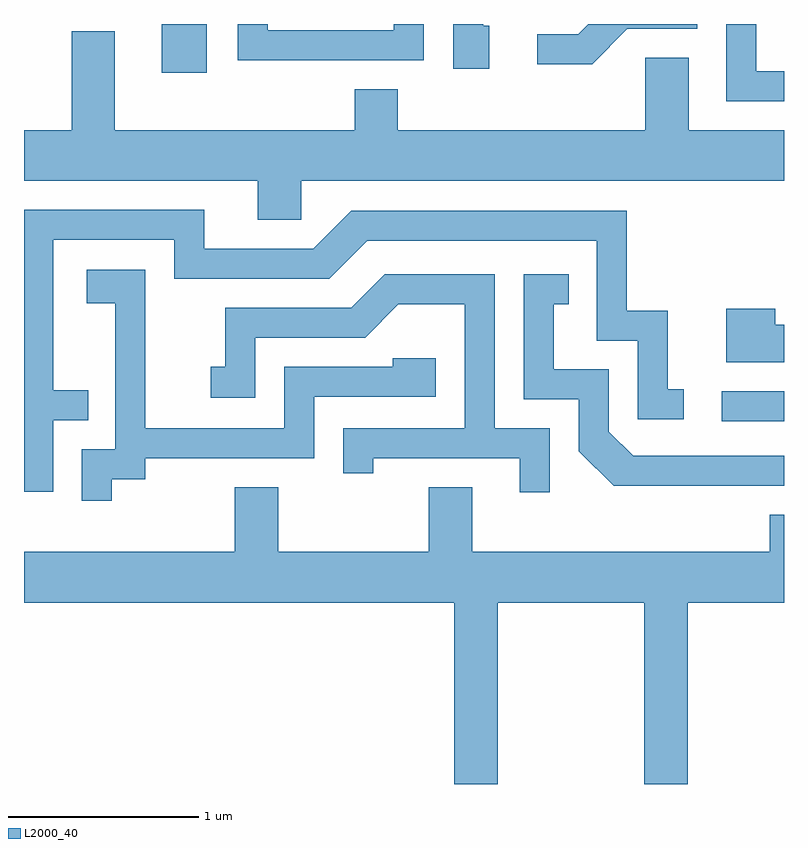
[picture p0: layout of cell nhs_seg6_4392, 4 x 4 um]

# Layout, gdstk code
import gdstk
lib = gdstk.Library(unit=1e-6, precision=1e-09)
def R(c, l, rs):  # rectangles x0, y0, x1, y1
    for r in rs: c.add(gdstk.rectangle(r[:2], r[2:], *l))
def P(c, l, *ps):  # polygons
    for p in ps: c.add(gdstk.Polygon(p, *l))
L2000_40 = (2000, 40)

nhs_seg6_4392 = lib.new_cell('nhs_seg6_4392')
R(nhs_seg6_4392, L2000_40, [(323.283,1582.071,323.611,1582.229), (320.336,1583.906,320.574,1584.162)])
P(nhs_seg6_4392, L2000_40, [(323.611,1583.914),(323.464,1583.914),(323.464,1584.162),(323.306,1584.162),(323.306,1583.756),(323.611,1583.756)],
  [(322.059,1584.154),(322.029,1584.154),(322.029,1584.162),(321.871,1584.162),(321.871,1583.926),(322.059,1583.926)],
  [(322.787,1584.136),(323.154,1584.136),(323.154,1584.162),(322.582,1584.162),(322.529,1584.109),(322.313,1584.109),(322.313,1583.951),(322.602,1583.951)],
  [(321.714,1584.162),(321.556,1584.162),(321.556,1584.129),(320.894,1584.129),(320.894,1584.162),(320.736,1584.162),(320.736,1583.971),(321.714,1583.971)],
  [(320.089,1584.124),(319.861,1584.124),(319.861,1583.604),(319.611,1583.604),(319.611,1583.336),(320.841,1583.336),(320.841,1583.131),(321.069,1583.131),(321.069,1583.336),(323.611,1583.336),(323.611,1583.604),(323.109,1583.604),(323.109,1583.984),(322.881,1583.984),(322.881,1583.604),(321.579,1583.604),(321.579,1583.819),(321.351,1583.819),(321.351,1583.604),(320.089,1583.604)],
  [(319.764,1582.076),(319.948,1582.076),(319.948,1582.234),(319.764,1582.234),(319.764,1583.026),(320.401,1583.026),(320.401,1582.821),(321.217,1582.821),(321.417,1583.021),(322.626,1583.021),(322.626,1582.496),(322.841,1582.496),(322.841,1582.081),(323.083,1582.081),(323.083,1582.239),(322.999,1582.239),(322.999,1582.654),(322.784,1582.654),(322.784,1583.179),(321.334,1583.179),(321.134,1582.979),(320.559,1582.979),(320.559,1583.184),(319.611,1583.184),(319.611,1581.701),(319.764,1581.701)],
  [(320.074,1581.766),(320.249,1581.766),(320.249,1581.876),(321.139,1581.876),(321.139,1582.201),(321.779,1582.201),(321.779,1582.404),(321.551,1582.404),(321.551,1582.359),(320.981,1582.359),(320.981,1582.034),(320.249,1582.034),(320.249,1582.869),(319.941,1582.869),(319.941,1582.691),(320.091,1582.691),(320.091,1581.924),(319.916,1581.924),(319.916,1581.653),(320.074,1581.653)],
  [(322.379,1582.034),(322.089,1582.034),(322.089,1582.844),(321.509,1582.844),(321.334,1582.669),(320.671,1582.669),(320.671,1582.359),(320.593,1582.359),(320.593,1582.196),(320.829,1582.196),(320.829,1582.511),(321.407,1582.511),(321.582,1582.686),(321.931,1582.686),(321.931,1582.034),(321.291,1582.034),(321.291,1581.798),(321.449,1581.798),(321.449,1581.876),(322.221,1581.876),(322.221,1581.698),(322.379,1581.698)],
  [(323.611,1581.889),(322.817,1581.889),(322.689,1582.017),(322.689,1582.344),(322.399,1582.344),(322.399,1582.686),(322.478,1582.686),(322.478,1582.844),(322.241,1582.844),(322.241,1582.186),(322.531,1582.186),(322.531,1581.914),(322.714,1581.731),(323.611,1581.731)],
  [(323.611,1582.579),(323.564,1582.579),(323.564,1582.664),(323.306,1582.664),(323.306,1582.381),(323.611,1582.381)],
  [(322.104,1581.116),(322.876,1581.116),(322.876,1580.162),(323.104,1580.162),(323.104,1581.116),(323.611,1581.116),(323.611,1581.579),(323.536,1581.579),(323.536,1581.384),(321.969,1581.384),(321.969,1581.724),(321.741,1581.724),(321.741,1581.384),(320.949,1581.384),(320.949,1581.724),(320.721,1581.724),(320.721,1581.384),(319.611,1581.384),(319.611,1581.116),(321.876,1581.116),(321.876,1580.162),(322.104,1580.162)])

lib.write_gds('nhs_seg6_4392.gds')
